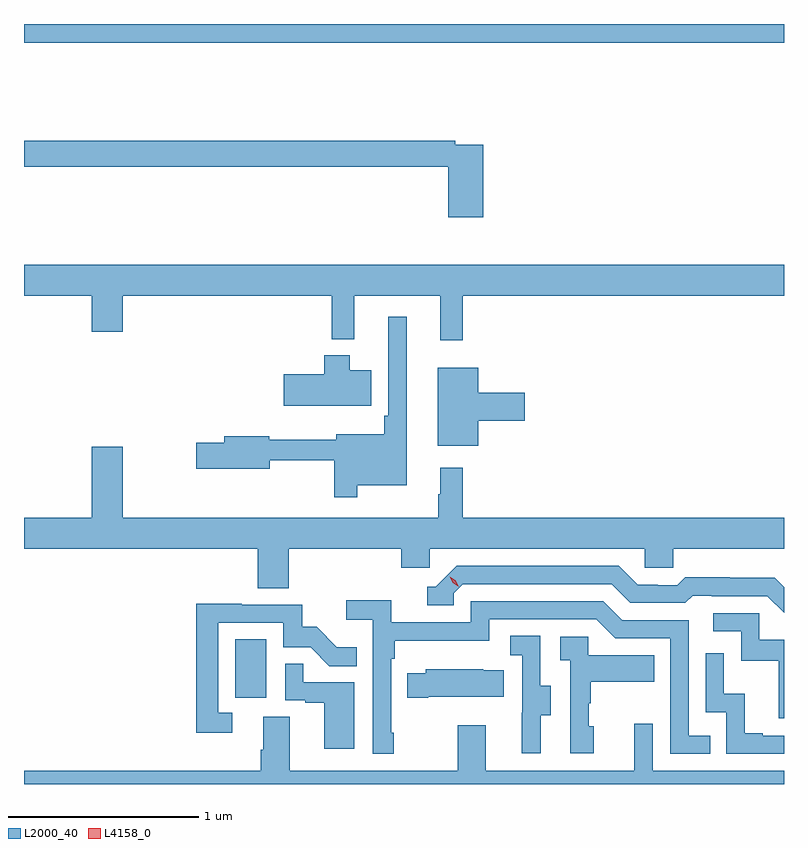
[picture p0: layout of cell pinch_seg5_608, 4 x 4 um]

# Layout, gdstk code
import gdstk
lib = gdstk.Library(unit=1e-6, precision=1e-09)
def R(c, l, rs):  # rectangles x0, y0, x1, y1
    for r in rs: c.add(gdstk.rectangle(r[:2], r[2:], *l))
def P(c, l, *ps):  # polygons
    for p in ps: c.add(gdstk.Polygon(p, *l))
L2000_40 = (2000, 40)
L4158_0 = (4158, 0)

pinch_seg5_608 = lib.new_cell('pinch_seg5_608')
R(pinch_seg5_608, L2000_40, [(1028.9,854.646,1029.064,854.953), (1027.788,858.092,1031.788,858.191)])
P(pinch_seg5_608, L2000_40, [(1030.205,857.556),(1030.058,857.556),(1030.058,857.576),(1027.788,857.576),(1027.788,857.44),(1030.022,857.44),(1030.022,857.175),(1030.205,857.175)],
  [(1030.097,856.76),(1031.788,856.76),(1031.788,856.924),(1027.788,856.924),(1027.788,856.76),(1028.144,856.76),(1028.144,856.572),(1028.308,856.572),(1028.308,856.76),(1029.409,856.76),(1029.409,856.532),(1029.527,856.532),(1029.527,856.76),(1029.98,856.76),(1029.98,856.527),(1030.097,856.527)],
  [(1029.541,855.764),(1029.802,855.764),(1029.802,856.651),(1029.705,856.651),(1029.705,856.129),(1029.685,856.129),(1029.685,856.033),(1029.431,856.033),(1029.431,856.003),(1029.078,856.003),(1029.078,856.022),(1028.843,856.022),(1028.843,855.986),(1028.694,855.986),(1028.694,855.851),(1029.082,855.851),(1029.082,855.894),(1029.42,855.894),(1029.42,855.699),(1029.541,855.699)],
  [(1029.616,856.369),(1029.502,856.369),(1029.502,856.447),(1029.368,856.447),(1029.368,856.347),(1029.156,856.347),(1029.156,856.181),(1029.616,856.181)],
  [(1030.18,856.103),(1030.423,856.103),(1030.423,856.25),(1030.18,856.25),(1030.18,856.381),(1029.965,856.381),(1029.965,855.971),(1030.18,855.971)],
  [(1029.182,855.428),(1029.773,855.428),(1029.773,855.33),(1029.924,855.33),(1029.924,855.428),(1031.055,855.428),(1031.055,855.33),(1031.205,855.33),(1031.205,855.428),(1031.788,855.428),(1031.788,855.592),(1030.097,855.592),(1030.097,855.856),(1029.98,855.856),(1029.98,855.716),(1029.969,855.716),(1029.969,855.592),(1028.308,855.592),(1028.308,855.967),(1028.144,855.967),(1028.144,855.592),(1027.788,855.592),(1027.788,855.428),(1029.017,855.428),(1029.017,855.22),(1029.182,855.22)],
  [(1031.788,855.227),(1031.738,855.277),(1031.502,855.277),(1031.502,855.28),(1031.269,855.28),(1031.227,855.237),(1031.124,855.237),(1031.124,855.24),(1031.017,855.24),(1030.918,855.339),(1030.065,855.339),(1029.954,855.228),(1029.911,855.228),(1029.911,855.132),(1030.05,855.132),(1030.05,855.195),(1030.098,855.243),(1030.881,855.243),(1030.98,855.144),(1031.269,855.144),(1031.308,855.183),(1031.407,855.183),(1031.407,855.18),(1031.7,855.18),(1031.788,855.092)],
  [(1029.733,854.461),(1029.72,854.461),(1029.72,854.849),(1029.74,854.849),(1029.74,854.945),(1030.236,854.945),(1030.236,855.057),(1030.8,855.057),(1030.899,854.958),(1031.19,854.958),(1031.19,854.349),(1031.399,854.349),(1031.399,854.445),(1031.286,854.445),(1031.286,855.054),(1030.936,855.054),(1030.837,855.153),(1030.14,855.153),(1030.14,855.042),(1029.722,855.042),(1029.722,855.158),(1029.483,855.158),(1029.483,855.056),(1029.624,855.056),(1029.624,854.349),(1029.733,854.349)],
  [(1028.884,854.565),(1028.811,854.565),(1028.811,855.039),(1029.153,855.039),(1029.153,854.91),(1029.297,854.91),(1029.395,854.812),(1029.539,854.812),(1029.539,854.911),(1029.435,854.911),(1029.328,855.018),(1029.252,855.018),(1029.252,855.135),(1028.933,855.135),(1028.933,855.14),(1028.695,855.14),(1028.695,854.46),(1028.884,854.46)],
  [(1031.788,854.949),(1031.658,854.949),(1031.658,855.09),(1031.415,855.09),(1031.415,854.994),(1031.562,854.994),(1031.562,854.841),(1031.761,854.841),(1031.761,854.538),(1031.788,854.538)],
  [(1030.507,854.554),(1030.561,854.554),(1030.561,854.709),(1030.506,854.709),(1030.506,854.972),(1030.347,854.972),(1030.347,854.869),(1030.41,854.869),(1030.41,854.565),(1030.409,854.565),(1030.409,854.352),(1030.507,854.352)],
  [(1030.786,854.496),(1030.761,854.496),(1030.761,854.615),(1030.771,854.615),(1030.771,854.729),(1031.105,854.729),(1031.105,854.869),(1030.758,854.869),(1030.758,854.967),(1030.611,854.967),(1030.611,854.843),(1030.662,854.843),(1030.662,854.352),(1030.786,854.352)],
  [(1031.788,854.445),(1031.677,854.445),(1031.677,854.458),(1031.582,854.458),(1031.582,854.666),(1031.472,854.666),(1031.472,854.878),(1031.376,854.878),(1031.376,854.568),(1031.484,854.568),(1031.484,854.349),(1031.788,854.349)],
  [(1029.526,854.727),(1029.257,854.727),(1029.257,854.825),(1029.162,854.825),(1029.162,854.631),(1029.269,854.631),(1029.269,854.619),(1029.368,854.619),(1029.368,854.376),(1029.526,854.376)],
  [(1029.916,854.651),(1030.313,854.651),(1030.313,854.791),(1030.205,854.791),(1030.205,854.794),(1029.903,854.794),(1029.903,854.773),(1029.805,854.773),(1029.805,854.644),(1029.916,854.644)],
  [(1031.788,854.26),(1031.097,854.26),(1031.097,854.509),(1031,854.509),(1031,854.26),(1030.219,854.26),(1030.219,854.5),(1030.072,854.5),(1030.072,854.26),(1029.187,854.26),(1029.187,854.546),(1029.047,854.546),(1029.047,854.372),(1029.035,854.372),(1029.035,854.26),(1027.788,854.26),(1027.788,854.191),(1031.788,854.191)])
P(pinch_seg5_608, L4158_0, [(1030.075,855.23),(1030.044,855.25),(1030.029,855.282),(1030.029,855.283),(1030.029,855.283),(1030.059,855.263),(1030.075,855.23),(1030.075,855.23)])

lib.write_gds('pinch_seg5_608.gds')
